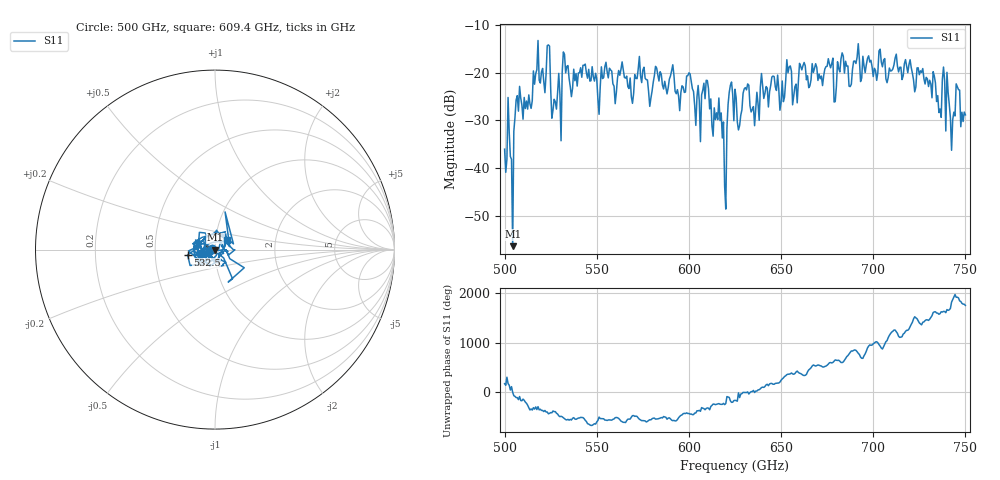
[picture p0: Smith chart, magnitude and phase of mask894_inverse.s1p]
!Created with skrf (http://scikit-rf.org).
# GHz S MA R 50.0
!freq magS11 angS11
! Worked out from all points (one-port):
!   401 points, 500 GHz to 750 GHz, reference 50 ohm
!   lowest |S11| = -56.3 dB at 504.4 GHz (marker M1), VSWR 1.00, Z = 50.2 + j0.0115 ohm
!   |S11| at or under -10 dB: start of sweep to end of sweep
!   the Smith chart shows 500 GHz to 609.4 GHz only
!   S11 on the Smith chart (normalised r, x): 500 GHz: 0.97, +0.00; 532.5 GHz: 0.73, -0.04; 609.4 GHz: 1.13, +0.12
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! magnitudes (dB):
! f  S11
! 500 GHz  -36.0
! 504.4 GHz  -56.3
! 506.9 GHz  -24.8
! 513.8 GHz  -26.6
! 516.9 GHz  -20.2
! 523.8 GHz  -14.2
! 526.9 GHz  -25.6
! 531.2 GHz  -19.8
! 532.5 GHz  -16.2
! 550.6 GHz  -25.5
! 562.5 GHz  -20.5
! 579.4 GHz  -25.3
! 590.6 GHz  -19.6
! 593.8 GHz  -23.6
! 600 GHz  -20.0
! 605 GHz  -22.7
! 609.4 GHz  -21.6
! 617.5 GHz  -28.4
! 619.4 GHz  -43.7
! 622.5 GHz  -22.6
! 625 GHz  -23.5
! 650.6 GHz  -21.7
! 654.4 GHz  -18.8
! 656.2 GHz  -26.7
! 687.5 GHz  -22.9
! 690.6 GHz  -18.1
! 718.8 GHz  -20.0
! 750 GHz  -28.8
